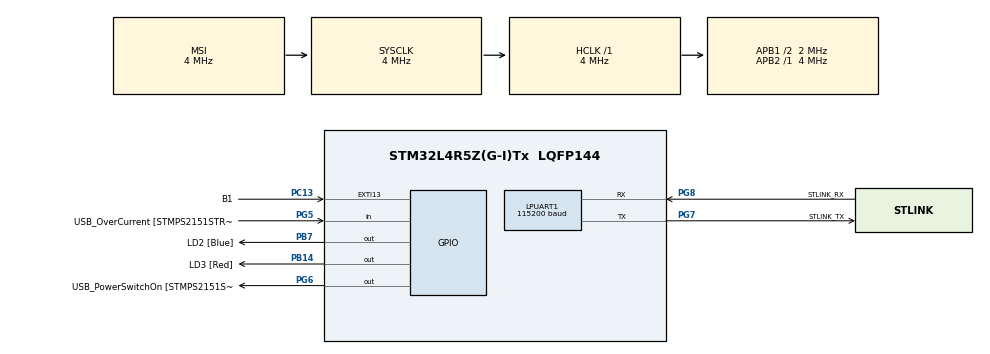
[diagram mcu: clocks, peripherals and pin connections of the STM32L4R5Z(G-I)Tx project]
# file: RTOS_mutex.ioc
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LPUART1.BaudRate=115200
LPUART1.WordLength=UART_WORDLENGTH_8B
Mcu.Family=STM32L4
Mcu.Name=STM32L4R5Z(G-I)Tx
Mcu.Package=LQFP144
NVIC.PriorityGroup=NVIC_PRIORITYGROUP_4
NVIC.TIM1_UP_TIM16_IRQn=true\:15\:0\:false\:false\:true\:false\:true\:true
NVIC.TimeBase=TIM1_UP_TIM16_IRQn
NVIC.TimeBaseIP=TIM1
PA10.GPIO_Label=USB_ID
PA10.Signal=USB_OTG_FS_ID
PA11.GPIO_Label=USB_DM
PA11.Signal=USB_OTG_FS_DM
PA12.GPIO_Label=USB_DP
PA12.Signal=USB_OTG_FS_DP
PA13\ (JTMS/SWDIO).GPIO_Label=TMS
PA13\ (JTMS/SWDIO).Mode=Serial_Wire
PA13\ (JTMS/SWDIO).Signal=SYS_JTMS-SWDIO
PA14\ (JTCK/SWCLK).GPIO_Label=TCK
PA14\ (JTCK/SWCLK).Mode=Serial_Wire
PA14\ (JTCK/SWCLK).Signal=SYS_JTCK-SWCLK
PA8.GPIO_Label=USB_SOF [TP1]
PA8.Signal=USB_OTG_FS_SOF
PA9.GPIO_Label=USB_VBUS
PA9.Signal=USB_OTG_FS_VBUS
PB14.GPIO_Label=LD3 [Red]
PB14.Signal=GPIO_Output
PB3\ (JTDO/TRACESWO).GPIO_Label=SWO
PB3\ (JTDO/TRACESWO).Signal=SYS_JTDO-SWO
PB7.GPIO_Label=LD2 [Blue]
PB7.Signal=GPIO_Output
PC13.GPIO_Label=B1
PC13.Signal=GPXTI13
PC14-OSC32_IN\ (PC14).Mode=LSE-External-Oscillator
PC14-OSC32_IN\ (PC14).Signal=RCC_OSC32_IN
PC15-OSC32_OUT\ (PC15).Mode=LSE-External-Oscillator
PC15-OSC32_OUT\ (PC15).Signal=RCC_OSC32_OUT
PD8.GPIO_Label=STLK_RX [STM32F103CBT6_PA3]
PD8.Signal=USART3_TX
PD9.GPIO_Label=STLK_TX [STM32F103CBT6_PA2]
PD9.Signal=USART3_RX
PG5.GPIO_Label=USB_OverCurrent [STMPS2151STR_FAULT]
PG5.Signal=GPIO_Input
PG6.GPIO_Label=USB_PowerSwitchOn [STMPS2151STR_En]
PG6.Signal=GPIO_Output
PG7.GPIO_Label=STLINK_TX
PG7.Mode=Asynchronous
PG7.Signal=LPUART1_TX
PG8.GPIO_Label=STLINK_RX
PG8.Mode=Asynchronous
PG8.Signal=LPUART1_RX
PH0-OSC_IN\ (PH0).Mode=HSE-External-Clock-Source
PH0-OSC_IN\ (PH0).Signal=RCC_OSC_IN
PH1-OSC_OUT\ (PH1).Signal=RCC_OSC_OUT
ProjectManager.HeapSize=0x200
ProjectManager.StackSize=0x400
ProjectManager.TargetToolchain=STM32CubeIDE
RCC.48MHZClocksFreq_Value=24000000
RCC.AHBFreq_Value=4000000
RCC.APB1CLKDivider=RCC_HCLK_DIV2
RCC.APB1Freq_Value=2000000
RCC.APB1TimFreq_Value=4000000
RCC.APB2Freq_Value=4000000
RCC.APB2TimFreq_Value=4000000
RCC.CortexFreq_Value=4000000
RCC.HCLKFreq_Value=4000000
RCC.HSE_VALUE=8000000
RCC.HSI48_VALUE=48000000
RCC.HSI_VALUE=16000000
RCC.MSI_VALUE=4000000
RCC.PLLMUL=RCC_PLL_MUL9
RCC.PRESCALERUSB=RCC_USBCLKSOURCE_PLL_DIV1_5
RCC.SYSCLKFreq_VALUE=4000000
RCC.SYSCLKSourceVirtual=RCC_SYSCLKSOURCE_PLLCLK
RCC.USBFreq_Value=16000000
RCC.VCOOutputFreq_Value=32000000
VP_SYS_VS_tim1.Mode=TIM1
board=NUCLEO-L4R5ZI

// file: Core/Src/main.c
/* USER CODE BEGIN Header */
/**
  ******************************************************************************
  * @file           : main.c
  * @brief          : Main program body
  ******************************************************************************
  * @attention
  *
  * Copyright (c) 2024 STMicroelectronics.
  * All rights reserved.
  *
  * This software is licensed under terms that can be found in the LICENSE file
  * in the root directory of this software component.
  * If no LICENSE file comes with this software, it is provided AS-IS.
  *
  ******************************************************************************
  */
/* USER CODE END Header */
#include "main.h"

/* USER CODE BEGIN Includes */
#include "FreeRTOS.h"
#include "task.h"
#include "semphr.h"
#include "string.h"
/* USER CODE END Includes */

UART_HandleTypeDef hlpuart1;

/* USER CODE BEGIN PV */
SemaphoreHandle_t binSem, mutex;
/* USER CODE END PV */

void SystemClock_Config(void);
static void MX_GPIO_Init(void);
static void MX_LPUART1_UART_Init(void);

/* USER CODE BEGIN 0 */
void send_uart(char *data)
{
	xSemaphoreTake(mutex,portMAX_DELAY);

	HAL_Delay(5000);

	HAL_UART_Transmit(&hlpuart1, (uint8_t*)data, strlen(data), portMAX_DELAY);

	xSemaphoreGive(mutex);
}
void HPT_Task(void *params)
{
	char tosend[] = "\n\rsending IN HPT task\n\r";
	while(1)
	{
		uint8_t pData[] = "\n\rEntered HPT task waiting for semaphore\n\r";
		HAL_UART_Transmit(&hlpuart1, pData, sizeof(pData), 100);

		send_uart(tosend);

		uint8_t pData1[] = "\n\rLeaving HPT task\n\r";
		HAL_UART_Transmit(&hlpuart1, pData1, sizeof(pData1), 100);

		vTaskDelay(pdMS_TO_TICKS(750));
	}
}

void MPT_Task(void *params)
{
	char tosend[] = "\n\r********* sending IN MPT task **********\n\r";
	while(1)
	{

		HAL_UART_Transmit(&hlpuart1, (uint8_t*)tosend, sizeof(tosend), 100);

		vTaskDelay(pdMS_TO_TICKS(2000));
	}
}

void LPT_Task(void *params)
{
	char tosend[] = "\n\rsendingIN LPT task\n\r";
	while(1)
	{
		uint8_t pData[] = "\n\rEntered LPT task waiting for semaphore\n\r";
		HAL_UART_Transmit(&hlpuart1, pData, sizeof(pData), 100);

		send_uart(tosend);

		uint8_t pData1[] = "\n\rLeaving LPT task\n\r";
		HAL_UART_Transmit(&hlpuart1, pData1, sizeof(pData1), 100);

		vTaskDelay(pdMS_TO_TICKS(1000));
	}
}
/* USER CODE END 0 */

int main(void)
{

  /* MCU Configuration--------------------------------------------------------*/

  /* Reset of all peripherals, Initializes the Flash interface and the Systick. */
  HAL_Init();

  /* Configure the system clock */
  SystemClock_Config();

  /* Initialize all configured peripherals */
  MX_GPIO_Init();
  MX_LPUART1_UART_Init();
  /* USER CODE BEGIN 2 */
  mutex = xSemaphoreCreateMutex();
  if(mutex != NULL)
  {
	  xSemaphoreGive(mutex);
	  xTaskCreate(HPT_Task, "task1", 128, NULL, 3, NULL);
	  xTaskCreate(MPT_Task, "task2", 128, NULL, 2, NULL);
	  xTaskCreate(LPT_Task, "task3", 128, NULL, 1, NULL);

	  vTaskStartScheduler();
  }
  else
  {
	  uint8_t str[]= "failed to create mutex\n\r";
	  HAL_UART_Transmit(&hlpuart1, str, sizeof(str), 100);
  }
  /* USER CODE END 2 */

  /* Infinite loop */
  while (1)
  {

  }
}

void SystemClock_Config(void)
{
  RCC_OscInitTypeDef RCC_OscInitStruct = {0};
  RCC_ClkInitTypeDef RCC_ClkInitStruct = {0};

  /** Configure the main internal regulator output voltage
  */
  if (HAL_PWREx_ControlVoltageScaling(PWR_REGULATOR_VOLTAGE_SCALE1) != HAL_OK)
  {
    Error_Handler();
  }

  /** Initializes the RCC Oscillators according to the specified parameters
  * in the RCC_OscInitTypeDef structure.
  */
  RCC_OscInitStruct.OscillatorType = RCC_OSCILLATORTYPE_MSI;
  RCC_OscInitStruct.MSIState = RCC_MSI_ON;
  RCC_OscInitStruct.MSICalibrationValue = 0;
  RCC_OscInitStruct.MSIClockRange = RCC_MSIRANGE_6;
  RCC_OscInitStruct.PLL.PLLState = RCC_PLL_NONE;
  if (HAL_RCC_OscConfig(&RCC_OscInitStruct) != HAL_OK)
  {
    Error_Handler();
  }

  /** Initializes the CPU, AHB and APB buses clocks
  */
  RCC_ClkInitStruct.ClockType = RCC_CLOCKTYPE_HCLK|RCC_CLOCKTYPE_SYSCLK
                              |RCC_CLOCKTYPE_PCLK1|RCC_CLOCKTYPE_PCLK2;
  RCC_ClkInitStruct.SYSCLKSource = RCC_SYSCLKSOURCE_MSI;
  RCC_ClkInitStruct.AHBCLKDivider = RCC_SYSCLK_DIV1;
  RCC_ClkInitStruct.APB1CLKDivider = RCC_HCLK_DIV2;
  RCC_ClkInitStruct.APB2CLKDivider = RCC_HCLK_DIV1;

  if (HAL_RCC_ClockConfig(&RCC_ClkInitStruct, FLASH_LATENCY_0) != HAL_OK)
  {
    Error_Handler();
  }
}

static void MX_LPUART1_UART_Init(void)
{

  hlpuart1.Instance = LPUART1;
  hlpuart1.Init.BaudRate = 115200;
  hlpuart1.Init.WordLength = UART_WORDLENGTH_8B;
  hlpuart1.Init.StopBits = UART_STOPBITS_1;
  hlpuart1.Init.Parity = UART_PARITY_NONE;
  hlpuart1.Init.Mode = UART_MODE_TX_RX;
  hlpuart1.Init.HwFlowCtl = UART_HWCONTROL_NONE;
  hlpuart1.Init.OneBitSampling = UART_ONE_BIT_SAMPLE_DISABLE;
  hlpuart1.Init.ClockPrescaler = UART_PRESCALER_DIV1;
  hlpuart1.AdvancedInit.AdvFeatureInit = UART_ADVFEATURE_NO_INIT;
  hlpuart1.FifoMode = UART_FIFOMODE_DISABLE;
  if (HAL_UART_Init(&hlpuart1) != HAL_OK)
  {
    Error_Handler();
  }
  if (HAL_UARTEx_SetTxFifoThreshold(&hlpuart1, UART_TXFIFO_THRESHOLD_1_8) != HAL_OK)
  {
    Error_Handler();
  }
  if (HAL_UARTEx_SetRxFifoThreshold(&hlpuart1, UART_RXFIFO_THRESHOLD_1_8) != HAL_OK)
  {
    Error_Handler();
  }
  if (HAL_UARTEx_DisableFifoMode(&hlpuart1) != HAL_OK)
  {
    Error_Handler();
  }

}

static void MX_GPIO_Init(void)
{
  GPIO_InitTypeDef GPIO_InitStruct = {0};

  /* GPIO Ports Clock Enable */
  __HAL_RCC_GPIOC_CLK_ENABLE();
  __HAL_RCC_GPIOH_CLK_ENABLE();
  __HAL_RCC_GPIOB_CLK_ENABLE();
  __HAL_RCC_GPIOD_CLK_ENABLE();
  __HAL_RCC_GPIOG_CLK_ENABLE();
  HAL_PWREx_EnableVddIO2();
  __HAL_RCC_GPIOA_CLK_ENABLE();

  /*Configure GPIO pin Output Level */
  HAL_GPIO_WritePin(GPIOB, LD3_Pin|LD2_Pin, GPIO_PIN_RESET);

  /*Configure GPIO pin Output Level */
  HAL_GPIO_WritePin(USB_PowerSwitchOn_GPIO_Port, USB_PowerSwitchOn_Pin, GPIO_PIN_RESET);

  /*Configure GPIO pin : B1_Pin */
  GPIO_InitStruct.Pin = B1_Pin;
  GPIO_InitStruct.Mode = GPIO_MODE_IT_RISING;
  GPIO_InitStruct.Pull = GPIO_NOPULL;
  HAL_GPIO_Init(B1_GPIO_Port, &GPIO_InitStruct);

  /*Configure GPIO pins : LD3_Pin LD2_Pin */
  GPIO_InitStruct.Pin = LD3_Pin|LD2_Pin;
  GPIO_InitStruct.Mode = GPIO_MODE_OUTPUT_PP;
  GPIO_InitStruct.Pull = GPIO_NOPULL;
  GPIO_InitStruct.Speed = GPIO_SPEED_FREQ_LOW;
  HAL_GPIO_Init(GPIOB, &GPIO_InitStruct);

  /*Configure GPIO pins : STLK_RX_Pin STLK_TX_Pin */
  GPIO_InitStruct.Pin = STLK_RX_Pin|STLK_TX_Pin;
  GPIO_InitStruct.Mode = GPIO_MODE_AF_PP;
  GPIO_InitStruct.Pull = GPIO_NOPULL;
  GPIO_InitStruct.Speed = GPIO_SPEED_FREQ_VERY_HIGH;
  GPIO_InitStruct.Alternate = GPIO_AF7_USART3;
  HAL_GPIO_Init(GPIOD, &GPIO_InitStruct);

  /*Configure GPIO pin : USB_OverCurrent_Pin */
  GPIO_InitStruct.Pin = USB_OverCurrent_Pin;
  GPIO_InitStruct.Mode = GPIO_MODE_INPUT;
  GPIO_InitStruct.Pull = GPIO_NOPULL;
  HAL_GPIO_Init(USB_OverCurrent_GPIO_Port, &GPIO_InitStruct);

  /*Configure GPIO pin : USB_PowerSwitchOn_Pin */
  GPIO_InitStruct.Pin = USB_PowerSwitchOn_Pin;
  GPIO_InitStruct.Mode = GPIO_MODE_OUTPUT_PP;
  GPIO_InitStruct.Pull = GPIO_NOPULL;
  GPIO_InitStruct.Speed = GPIO_SPEED_FREQ_LOW;
  HAL_GPIO_Init(USB_PowerSwitchOn_GPIO_Port, &GPIO_InitStruct);

  /*Configure GPIO pins : USB_SOF_Pin USB_ID_Pin USB_DM_Pin USB_DP_Pin */
  GPIO_InitStruct.Pin = USB_SOF_Pin|USB_ID_Pin|USB_DM_Pin|USB_DP_Pin;
  GPIO_InitStruct.Mode = GPIO_MODE_AF_PP;
  GPIO_InitStruct.Pull = GPIO_NOPULL;
  GPIO_InitStruct.Speed = GPIO_SPEED_FREQ_VERY_HIGH;
  GPIO_InitStruct.Alternate = GPIO_AF10_OTG_FS;
  HAL_GPIO_Init(GPIOA, &GPIO_InitStruct);

  /*Configure GPIO pin : USB_VBUS_Pin */
  GPIO_InitStruct.Pin = USB_VBUS_Pin;
  GPIO_InitStruct.Mode = GPIO_MODE_INPUT;
  GPIO_InitStruct.Pull = GPIO_NOPULL;
  HAL_GPIO_Init(USB_VBUS_GPIO_Port, &GPIO_InitStruct);

}

void HAL_TIM_PeriodElapsedCallback(TIM_HandleTypeDef *htim)
{
  if (htim->Instance == TIM1) {
    HAL_IncTick();
  }
}

void Error_Handler(void)
{
  __disable_irq();
  while (1)
  {
  }
}
